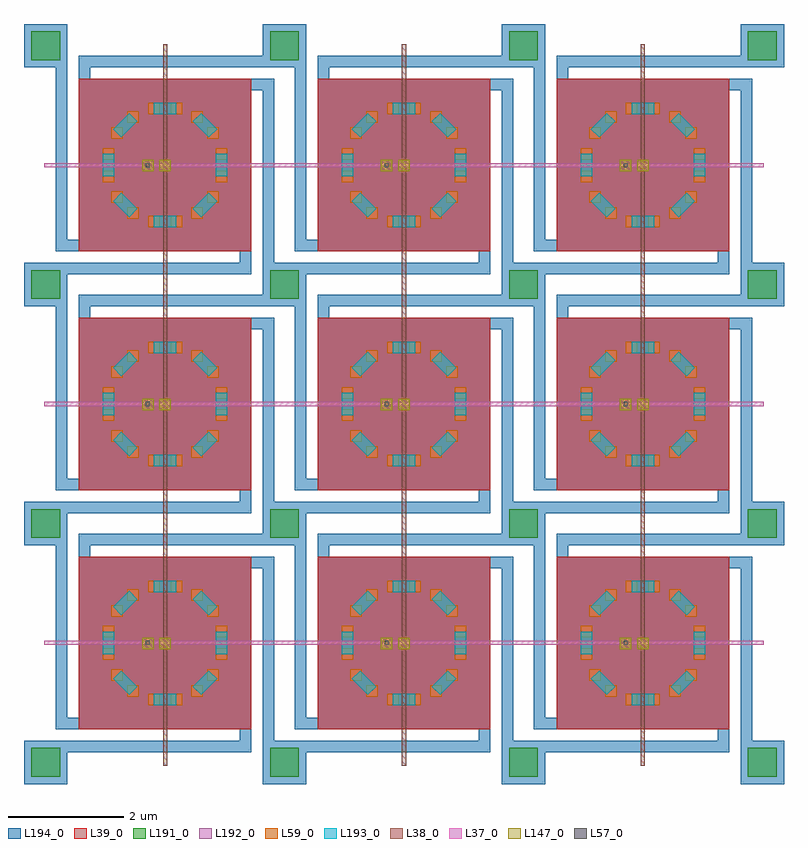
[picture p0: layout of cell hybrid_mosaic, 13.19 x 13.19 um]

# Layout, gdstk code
import gdstk
lib = gdstk.Library(unit=1e-6, precision=1e-09)
def R(c, l, rs):  # rectangles x0, y0, x1, y1
    for r in rs: c.add(gdstk.rectangle(r[:2], r[2:], *l))
def P(c, l, *ps):  # polygons
    for p in ps: c.add(gdstk.Polygon(p, *l))
L37_0 = (37, 0)
L38_0 = (38, 0)
L39_0 = (39, 0)
L57_0 = (57, 0)
L59_0 = (59, 0)
L147_0 = (147, 0)
L191_0 = (191, 0)
L192_0 = (192, 0)
L193_0 = (193, 0)
L194_0 = (194, 0)

relay_anc = lib.new_cell('relay_anc')
R(relay_anc, L191_0, [(-2.324,-2.324,-1.824,-1.824), (1.824,-2.324,2.324,-1.824), (-2.324,1.824,-1.824,2.324), (1.824,1.824,2.324,2.324)])

relay_body = lib.new_cell('relay_body')
R(relay_body, L194_0, [(-2.324,-2.324,-1.824,-1.824), (1.824,-2.324,2.324,-1.824), (-2.324,1.825,-1.824,2.324), (1.824,1.825,2.324,2.324)])
P(relay_body, L194_0, [(-2.449,-2.449),(-2.449,-1.699),(1.3,-1.699),(1.3,-1.499),(-1.899,-1.499),(-1.899,1.7),(-2.449,1.7),(-2.449,2.449),(-1.699,2.449),(-1.699,-1.3),(-1.5,-1.3),(-1.5,1.899),(1.699,1.899),(1.699,2.449),(2.449,2.449),(2.449,1.7),(-1.3,1.7),(-1.3,1.5),(1.899,1.5),(1.899,-1.699),(2.449,-1.699),(2.449,-2.449),(1.699,-2.449),(1.699,1.3),(1.5,1.3),(1.5,-1.899),(-1.699,-1.899),(-1.699,-2.449)])

relay_cont = lib.new_cell('relay_cont')
R(relay_cont, L192_0, [(-0.295,-1.08,-0.095,-0.88), (0.095,-1.08,0.295,-0.88), (-0.655,-0.931,-0.455,-0.731), (0.455,-0.931,0.655,-0.731), (-0.931,-0.655,-0.731,-0.455), (0.731,-0.655,0.931,-0.455), (-1.08,-0.295,-0.881,-0.095), (0.881,-0.295,1.08,-0.095), (-1.08,0.095,-0.881,0.295), (0.881,0.095,1.08,0.295), (-0.931,0.455,-0.731,0.655), (0.731,0.455,0.931,0.655), (-0.655,0.731,-0.455,0.931), (0.455,0.731,0.655,0.931), (-0.295,0.881,-0.095,1.08), (0.095,0.881,0.295,1.08)])

relay_chan = lib.new_cell('relay_chan')
R(relay_chan, L193_0, [(-0.196,-1.08,0.196,-0.88), (-1.08,-0.196,-0.881,0.196), (0.881,-0.196,1.08,0.196), (-0.196,0.881,0.196,1.08)])
P(relay_chan, L193_0, [(0.761,0.484),(0.484,0.761),(0.625,0.903),(0.903,0.625)],
  [(-0.761,0.484),(-0.903,0.625),(-0.625,0.903),(-0.484,0.761)],
  [(-0.625,-0.903),(-0.903,-0.625),(-0.761,-0.484),(-0.484,-0.761)],
  [(0.625,-0.903),(0.484,-0.761),(0.761,-0.484),(0.903,-0.625)])

relay_substrate = lib.new_cell('relay_substrate')
R(relay_substrate, L39_0, [(-1.5,-1.5,1.5,1.5)])
R(relay_substrate, L59_0, [(-0.295,-1.08,-0.095,-0.88), (0.095,-1.08,0.295,-0.88), (-0.655,-0.931,-0.455,-0.731), (0.455,-0.931,0.655,-0.731), (-0.931,-0.655,-0.731,-0.455), (0.731,-0.655,0.931,-0.455), (-1.08,-0.295,-0.881,-0.095), (0.881,-0.295,1.08,-0.095), (-1.08,0.095,-0.881,0.295), (0.881,0.095,1.08,0.295), (-0.931,0.455,-0.731,0.655), (0.731,0.455,0.931,0.655), (-0.655,0.731,-0.455,0.931), (0.455,0.731,0.655,0.931), (-0.295,0.881,-0.095,1.08), (0.095,0.881,0.295,1.08)])

relay = lib.new_cell('relay')
relay.add(gdstk.Reference(relay_anc, (0,0)))
relay.add(gdstk.Reference(relay_body, (0,0)))
relay.add(gdstk.Reference(relay_cont, (0,0)))
relay.add(gdstk.Reference(relay_chan, (0,0)))
relay.add(gdstk.Reference(relay_substrate, (0,0)))

m8_m7_cdns_582080161730 = lib.new_cell('M8_M7_CDNS_582080161730')
R(m8_m7_cdns_582080161730, L37_0, [(-0.065,-0.065,0.065,0.065)])
R(m8_m7_cdns_582080161730, L38_0, [(-0.065,-0.065,0.065,0.065)])
R(m8_m7_cdns_582080161730, L57_0, [(-0.035,-0.035,0.035,0.035)])

hybrid = lib.new_cell('hybrid')
R(hybrid, L147_0, [(-0.4,-0.106,-0.2,0.094), (-0.1,-0.106,0.1,0.094)])
hybrid.add(gdstk.FlexPath([(0,-2.1),(0,2.1)], 0.07, ends=(0.035, 0), simple_path=True, layer=38, datatype=0))  # L38_0
hybrid.add(gdstk.FlexPath([(2.1,0),(-2.1,0)], 0.07, ends="flush", simple_path=True, layer=37, datatype=0))  # L37_0
hybrid.add(gdstk.Reference(relay, (0,0)))
hybrid.add(gdstk.Reference(m8_m7_cdns_582080161730, (-0.3,0)))

hybrid_mosaic = lib.new_cell('hybrid_mosaic')
r = gdstk.Reference(hybrid, (0,0)); r.repetition = gdstk.Repetition(3, 3, v1=(4.148,0), v2=(0,4.148)); hybrid_mosaic.add(r)

lib.write_gds('hybrid_mosaic.gds')
